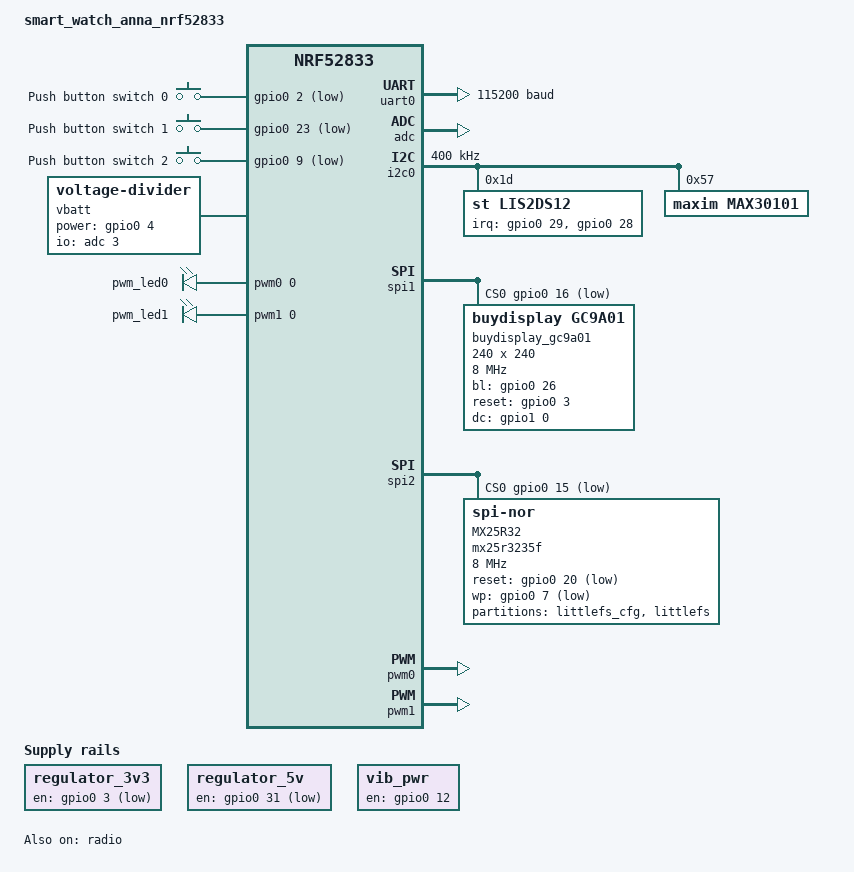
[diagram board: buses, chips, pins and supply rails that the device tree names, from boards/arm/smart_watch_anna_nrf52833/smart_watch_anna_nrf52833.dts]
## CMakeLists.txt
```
cmake_minimum_required(VERSION 3.20.0)

find_package(Zephyr REQUIRED HINTS $ENV{ZEPHYR_BASE})
project(lvgl)

add_subdirectory(drivers)
add_subdirectory(src/applications)

include_directories(src/)
include_directories(src/ui)
include_directories(src/applications)

FILE(GLOB app_sources src/*.c)
target_sources(app PRIVATE ${app_sources})

FILE(GLOB img_sources src/images/*.c)
target_sources(app PRIVATE ${img_sources})

FILE(GLOB ui_sources src/ui/*.c)
target_sources(app PRIVATE ${ui_sources})

add_compile_definitions(LV_LVGL_H_INCLUDE_SIMPLE)
```

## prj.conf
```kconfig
CONFIG_LV_Z_MEM_POOL_NUMBER_BLOCKS=8
CONFIG_MAIN_STACK_SIZE=1024
CONFIG_SYSTEM_WORKQUEUE_STACK_SIZE=2048
CONFIG_HEAP_MEM_POOL_SIZE=17000

CONFIG_ASSERT=y
CONFIG_RESET_ON_FATAL_ERROR=y
CONFIG_DISPLAY=y
CONFIG_DISPLAY_LOG_LEVEL_ERR=y

CONFIG_I2C=y
CONFIG_SENSOR=y
CONFIG_ADC=y
CONFIG_LIS2DS12=y
CONFIG_LIS2DS12_ENABLE_TEMP=y
CONFIG_LIS2DS12_TRIGGER_GLOBAL_THREAD=y

CONFIG_MAX30101=y
CONFIG_MAX30101_MULTI_LED_MODE=y
CONFIG_MAX30101_SLOT1=1
CONFIG_MAX30101_SLOT2=2
CONFIG_MAX30101_SLOT3=3
CONFIG_MAX30101_SLOT4=0

CONFIG_PINCTRL=y
CONFIG_PM_DEVICE=y
CONFIG_NFCT_PINS_AS_GPIOS=y

CONFIG_PWM=y

CONFIG_LVGL=y
CONFIG_LV_MEM_CUSTOM=y
CONFIG_LV_FONT_MONTSERRAT_14=y
#CONFIG_LV_PERF_MONITOR_ALIGN_RIGHT_MID=y

# LVGL Size optimizations
CONFIG_LV_LABEL_TEXT_SELECTION=n
CONFIG_LV_LABEL_LONG_TXT_HINT=n
CONFIG_LV_USE_LOG=n
CONFIG_LV_USE_BAR=n
CONFIG_LV_USE_CANVAS=n
CONFIG_LV_USE_CHECKBOX=n
CONFIG_LV_USE_DROPDOWN=n
CONFIG_LV_USE_LINE=y
CONFIG_LV_USE_ROLLER=n
CONFIG_LV_USE_SLIDER=y
CONFIG_LV_USE_SWITCH=y
CONFIG_LV_USE_TABLE=n
CONFIG_LV_USE_TEXTAREA=n
CONFIG_LV_USE_FLEX=y
CONFIG_LV_USE_ANIMIMG=y
CONFIG_LV_USE_CALENDAR=n
CONFIG_LV_USE_CHART=n
CONFIG_LV_USE_COLORWHEEL=n
CONFIG_LV_USE_IMGBTN=y
CONFIG_LV_USE_KEYBOARD=n
CONFIG_LV_USE_LED=n
CONFIG_LV_USE_LIST=y
CONFIG_LV_USE_MENU=y
CONFIG_LV_USE_METER=y
CONFIG_LV_USE_MSGBOX=y
CONFIG_LV_USE_SPINBOX=n
CONFIG_LV_USE_SPINNER=n
CONFIG_LV_USE_TABVIEW=n
CONFIG_LV_USE_TILEVIEW=n
CONFIG_LV_USE_WIN=n
CONFIG_LV_USE_SPAN=n
CONFIG_LV_USE_USER_DATA=y
CONFIG_LV_SPAN_SNIPPET_STACK_SIZE=64
CONFIG_LV_Z_VDB_SIZE=10
CONFIG_LV_Z_DOUBLE_VDB=n
CONFIG_SPI=y
CONFIG_GC9A01=y

CONFIG_LV_COLOR_16_SWAP=y
CONFIG_LV_COLOR_DEPTH_16=y

#
# Memory settings
#
# CONFIG_LV_MEM_CUSTOM is not set
CONFIG_LV_MEM_SIZE_KILOBYTES=25
CONFIG_LV_MEM_ADDR=0x0
CONFIG_LV_MEM_BUF_MAX_NUM=16
# end of Memory settings

# NVS
CONFIG_FLASH=y
CONFIG_FLASH_MAP=y
CONFIG_MPU_ALLOW_FLASH_WRITE=y
CONFIG_FLASH_PAGE_LAYOUT=y
CONFIG_SPI_NOR_SFDP_MINIMAL=n
CONFIG_SPI_NOR_SFDP_RUNTIME=y

# External flash
CONFIG_SPI_NOR=y
CONFIG_FILE_SYSTEM=y
CONFIG_FILE_SYSTEM_LITTLEFS=y

CONFIG_SETTINGS=n
CONFIG_NVS=y
#CONFIG_SETTINGS_FS=y
#CONFIG_SETTINGS_FS_DIR="/lfs/settings.bin"

# Bluetooth
CONFIG_BT=y

CONFIG_BT_CTLR=y
CONFIG_BT_LL_SW_SPLIT=y

CONFIG_BT_CTLR_ADV_EXT=y
CONFIG_BT_CTLR_ADV_PERIODIC=y

# Enable Direction Finding TX Feature including AoA and AoD
CONFIG_BT_DF=y
CONFIG_BT_CTLR_DF=y
CONFIG_BT_CTLR_DF_ANT_SWITCH_TX=n
CONFIG_BT_CTLR_DF_ANT_SWITCH_RX=n
CONFIG_BT_CTLR_DF_SCAN_CTE_RX=n
#CONFIG_BT_RX_STACK_SIZE=2048
# Enable chaining of multiple CTEs in periodic advertising
CONFIG_BT_CTLR_ADVANCED_FEATURES=y
CONFIG_BT_CTLR_ADV_SYNC_PDU_BACK2BACK=y
CONFIG_BT_CTLR_DF_PER_ADV_CTE_NUM_MAX=1
CONFIG_BT_DEBUG_LOG=n
#CONFIG_BT_SMP=y
CONFIG_BT_PERIPHERAL=y
CONFIG_BT_DIS=y
CONFIG_BT_DIS_PNP=n
CONFIG_BT_BAS=n
CONFIG_BT_HRS=n
CONFIG_BT_DEVICE_NAME="Smart Watch"
CONFIG_BT_DEVICE_APPEARANCE=194
CONFIG_BT_KEYS_OVERWRITE_OLDEST=y
CONFIG_BT_SETTINGS=n
CONFIG_BT_MAX_PAIRED=1
CONFIG_BT_MAX_CONN=1

CONFIG_BT_GATT_CLIENT=y
CONFIG_BT_GATT_DM=y

CONFIG_BT_EXT_ADV=y
CONFIG_BT_PER_ADV=y
CONFIG_BT_BROADCASTER=y
CONFIG_BT_SMP_ALLOW_UNAUTH_OVERWRITE=y
#CONFIG_BT_CONN_PARAM_UPDATE_TIMEOUT=
CONFIG_BT_EXT_ADV_MAX_ADV_SET=2
CONFIG_BT_CTLR_ADV_AUX_SET=2
CONFIG_BT_CTLR_ADV_DATA_LEN_MAX=128
CONFIG_BT_BUF_ACL_RX_SIZE=100
CONFIG_BT_BUF_ACL_TX_SIZE=100
CONFIG_BT_L2CAP_TX_MTU=96
CONFIG_BT_CTLR_DATA_LENGTH_MAX=100
CONFIG_BT_CTLR_LLCP_LOCAL_PROC_CTX_BUF_NUM=4

# Nordic UART Service
CONFIG_BT_NUS=y

# SEGGER RTT logging instead of UART
CONFIG_LOG_PRINTK=y
CONFIG_LOG=y
CONFIG_LOG_BACKEND_RTT_MODE_BLOCK=y
#CONFIG_DEBUG_OPTIMIZATIONS=y
CONFIG_USE_SEGGER_RTT=y
CONFIG_LOG_BACKEND_RTT=y
# End of SEGGER RTT

CONFIG_NEWLIB_LIBC=y
CONFIG_POSIX_API=y

CONFIG_CLOCK_CONTROL_NRF_K32SRC_RC=y

CONFIG_PM=y

# Size optimizations
CONFIG_SIZE_OPTIMIZATIONS=y
# CONFIG_THREAD_STACK_INFO=n
CONFIG_WATCHDOG=n
CONFIG_SERIAL=n
CONFIG_CONSOLE=n
CONFIG_PRINTK=y

# Needed for v2.2 otherwise compile errors
CONFIG_FLASH_JESD216_API=y

CONFIG_APP_EVENT_MANAGER=y
```

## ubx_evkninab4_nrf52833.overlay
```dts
/*
 * Copyright (c) 2021 Nordic Semiconductor ASA
 *
 * SPDX-License-Identifier: Apache-2.0
 */

/ {
	chosen {
		zephyr,display = &gc9a01;
	};
};

&spi0  {
	status = "okay";
	compatible = "nordic,nrf-spi";
	cs-gpios = <&arduino_header 10 GPIO_ACTIVE_LOW>;//,	/* D4 */
	//<&arduino_header 10 GPIO_ACTIVE_LOW>;	/* D04 */
	//sck-pin = < 12 >;
	//miso-pin = < 14 >;
	//mosi-pin = < 18 >;
	//cs-gpios = < &gpio0 15 GPIO_ACTIVE_LOW >;
	gc9a01: gc9a01@0 {
		compatible = "jkra,gc9a01";
		status = "okay";
		spi-max-frequency = <15151515>;
		//spi-max-frequency = <1000000>;
		reg = <0>;
		width = <320>;
		label = "jkra_gd0a401";
		height = <240>;
		//bl-gpios = <&arduino_header 7 GPIO_ACTIVE_LOW>;	/* D1 */
		bl-gpios = <&arduino_header 21 GPIO_ACTIVE_HIGH>;	/* NOT WORKING */
		reset-gpios = <&arduino_header 0 GPIO_ACTIVE_HIGH>;	/* A0 */
		dc-gpios = <&arduino_header 14 GPIO_ACTIVE_HIGH>;		/* D8 */
		//reset-gpios = <&gpio0 11 GPIO_ACTIVE_LOW>;
		//pixel-format = <ILI9XXX_PIXEL_FORMAT_RGB888>;
		//rotation = <90>;
		//frmctr1 = [00 18];
		//pwctrl1 = [23 00];
		//vmctrl1 = [3e 28];
		//vmctrl2 = [86];
		//pgamctrl = [0f 31 2b 0c 0e 08 4e f1 37 07 10 03 0e 09 00];
		//ngamctrl = [00 0e 14 03 11 07 31 c1 48 08 0f 0c 31 36 0f];
	};


};
```

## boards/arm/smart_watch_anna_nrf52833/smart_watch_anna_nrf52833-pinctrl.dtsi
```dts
/*
 * Copyright (c) 2022 Nordic Semiconductor
 * SPDX-License-Identifier: Apache-2.0
 */

&pinctrl {
	// TODO remove for actual watch, no UART
	uart0_default: uart0_default {
		group1 {
			psels = <NRF_PSEL(UART_TX, 1, 5)>,
				<NRF_PSEL(UART_RX, 0, 29)>,
				<NRF_PSEL(UART_RTS, 0, 31)>,
				<NRF_PSEL(UART_CTS, 0, 23)>;
		};
	};

	uart0_sleep: uart0_sleep {
		group1 {
			psels = <NRF_PSEL(UART_TX, 1, 5)>,
				<NRF_PSEL(UART_RX, 0, 29)>,
				<NRF_PSEL(UART_RTS, 0, 31)>,
				<NRF_PSEL(UART_CTS, 0, 23)>;
			low-power-enable;
		};
	};

	i2c0_default: i2c0_default {
		group1 {
			psels = <NRF_PSEL(TWIM_SDA, 0, 27)>,
				<NRF_PSEL(TWIM_SCL, 0, 6)>;
		};
	};

	i2c0_sleep: i2c0_sleep {
		group1 {
			psels = <NRF_PSEL(TWIM_SDA, 0, 27)>,
				<NRF_PSEL(TWIM_SCL, 0, 6)>;
			low-power-enable;
		};
	};

	spi1_default: spi1_default {
		group1 {
			psels = <NRF_PSEL(SPIM_SCK, 0, 1)>,
				<NRF_PSEL(SPIM_MOSI, 0, 0)>;
				//<NRF_PSEL(SPIM_MISO, 0, 0)>;
		};
	};

	spi1_sleep: spi1_sleep {
		group1 {
			psels = <NRF_PSEL(SPIM_SCK, 0, 1)>,
				<NRF_PSEL(SPIM_MOSI, 0, 0)>;
				//<NRF_PSEL(SPIM_MISO, 0, 0)>;
			low-power-enable;
		};
	};

	spi2_default: spi2_default {
		group1 {
			psels = <NRF_PSEL(SPIM_SCK, 0, 14)>,
				<NRF_PSEL(SPIM_MOSI, 1, 9)>,
				<NRF_PSEL(SPIM_MISO, 0, 22)>;
		};
	};

	spi2_sleep: spi2_sleep {
		group1 {
			psels = <NRF_PSEL(SPIM_SCK, 0, 14)>,
				<NRF_PSEL(SPIM_MOSI, 1, 9)>,
				<NRF_PSEL(SPIM_MISO, 0, 22)>;
			low-power-enable;
		};
	};

	// Display BLK
	pwm0_default: pwm0_default {
		group1 {
			psels = <NRF_PSEL(PWM_OUT0, 0, 26)>;
		};
	};

	pwm0_sleep: pwm0_sleep {
		group1 {
			psels = <NRF_PSEL(PWM_OUT0, 0, 26)>;
			low-power-enable;
		};
	};

	// Vibration motor
	pwm1_default: pwm1_default {
		group1 {
			psels = <NRF_PSEL(PWM_OUT0, 0, 11)>;
		};
	};

	pwm1_sleep: pwm1_sleep {
		group1 {
			psels = <NRF_PSEL(PWM_OUT0, 0, 11)>;
			low-power-enable;
		};
	};

};
```

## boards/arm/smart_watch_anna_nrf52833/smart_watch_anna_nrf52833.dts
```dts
// Copyright (c) 2022 Nordic Semiconductor ASA
// SPDX-License-Identifier: Apache-2.0

/dts-v1/;
#include <nordic/nrf52833_qiaa.dtsi>
#include "smart_watch_anna_nrf52833-pinctrl.dtsi"

/ {
	model = "smart_watch_anna_nrf52833";
	compatible = "jakob-krantz,smart-watch-anna-nrf52833";

	chosen {
		zephyr,console = &uart0;
		zephyr,sram = &sram0;
		zephyr,flash = &flash0;
		zephyr,display = &gc9a01;
		zephyr,code-partition = &slot0_partition;
	};

	// TODO change to watch buttons
	buttons {
		compatible = "gpio-keys";
		button0: button_0 {
			gpios = <&gpio0 2 (GPIO_PULL_UP | GPIO_ACTIVE_LOW)>;
			label = "Push button switch 0";
		};
		button1: button_1 {
			gpios = <&gpio0 23 (GPIO_PULL_UP | GPIO_ACTIVE_LOW)>;
			label = "Push button switch 1";
		};
		button2: button2 {
			gpios = <&gpio0 9 (GPIO_PULL_UP | GPIO_ACTIVE_LOW)>;
			label = "Push button switch 2";
		};
	};
	
	vbatt {
		compatible = "voltage-divider";
		io-channels = <&adc 3>;
		output-ohms = <220000>;
		full-ohms = <(1500000 + 220000)>;
		power-gpios = <&gpio0 4 0>;
	};

	regulator_3v3: regulator-3v3-ctrl {
		compatible = "regulator-fixed-sync", "regulator-fixed";
		label = "vsys-3v3-ctrl";
		regulator-name = "display";
		enable-gpios = <&gpio0 3 GPIO_ACTIVE_LOW>;
		regulator-boot-on;
	};

	regulator_5v: regulator-5v-ctrl {
		compatible = "regulator-fixed-sync", "regulator-fixed";
		label = "vsys-5v-ctrl";
		regulator-name = "max30101";
		enable-gpios = <&gpio0 31 GPIO_ACTIVE_LOW>;
		regulator-boot-on;
	};
	vib_pwr: vib-pwr-ctrl {
		compatible = "regulator-fixed";
		label = "vib-pwr-ctrl";
		regulator-name = "vib-pwr-ctrl";
		enable-gpios = <&gpio0 12 GPIO_ACTIVE_HIGH>;
	};

	pwmleds {
		compatible = "pwm-leds";
		pwm_led0: pwm_led_0 {
			pwms = <&pwm0 0 PWM_MSEC(20) 0>;
		};
		pwm_led1: pwm_led_1 {
			pwms = <&pwm1 0 PWM_MSEC(20) 0>;
		};
	};
	/*
	fstab {
		compatible = "zephyr,fstab";
		lfs: lfs {
		  compatible = "zephyr,fstab,littlefs";
		  mount-point = "/lfs";
		  partition = <&lfs1_part>;
		  read-size = <16>;
		  prog-size = <16>;
		  cache-size = <64>;
		  lookahead-size = <32>;
		  block-cycles = <512>;
		};
	  };
	*/
	aliases {
		sw0 = &button0;
		sw1 = &button1;
		sw2 = &button2;
		accelerometer = &lis2ds12;
		pwm-led0 = &pwm_led0;
		pwm-led1 = &pwm_led1;
	};
};

&uart0 {
	compatible = "nordic,nrf-uart";
	status = "okay";
	current-speed = <115200>;
	pinctrl-0 = <&uart0_default>;
	pinctrl-1 = <&uart0_sleep>;
	pinctrl-names = "default", "sleep";
};

&gpio0 {
	status = "okay";
};

&gpio1 {
	status = "okay";
};

&adc {
	status = "okay";
};

&i2c0 {
	compatible = "nordic,nrf-twim";
	status = "okay";
	clock-frequency = <I2C_BITRATE_FAST>;

	pinctrl-0 = <&i2c0_default>;
	pinctrl-1 = <&i2c0_sleep>;
	pinctrl-names = "default", "sleep";
	lis2ds12: lis2ds12@1D {
		compatible = "st,lis2ds12", "st,lis2ds";
		label = "lis2ds12";
		reg = <0x1D>;
		irq-gpios = <&gpio0 29 GPIO_ACTIVE_HIGH &gpio0 28 GPIO_ACTIVE_HIGH>;
	};
	max30101@57 {
		status = "okay";
		compatible = "maxim,max30101";
		reg = <0x57>;
		label = "MAX30101";
	};
};

&spi1  {
	status = "okay";
	compatible = "nordic,nrf-spi";
	pinctrl-0 = <&spi1_default>;
	pinctrl-1 = <&spi1_sleep>;
	pinctrl-names = "default", "sleep";
	cs-gpios = <&gpio0 16 GPIO_ACTIVE_LOW>;

	gc9a01: gc9a01@0 {
		compatible = "buydisplay,gc9a01";
		status = "okay";
		spi-max-frequency = <8000000>;
		reg = <0>;
		width = <240>;
		label = "buydisplay_gc9a01";
		height = <240>;
		bl-gpios = <&gpio0 26 GPIO_ACTIVE_HIGH>;
		reset-gpios = <&gpio0 3 GPIO_ACTIVE_HIGH>;
		dc-gpios = <&gpio1 0 GPIO_ACTIVE_HIGH>;
	};

};

&spi2 {
	status = "okay";
	pinctrl-0 = <&spi2_default>;
	pinctrl-1 = <&spi2_sleep>;
	pinctrl-names = "default", "sleep";
	cs-gpios = <&gpio0 15 GPIO_ACTIVE_LOW>;
	mx25r32: mx25r3235f@0 {
		compatible = "jedec,spi-nor";
		reg = <0>;
		spi-max-frequency = <8000000>;
		label = "MX25R32";
		size = <33554432>;
		jedec-id = [c2 28 16];
		/*
		sfdp-bfp = [
			e5 20 f1 ff  ff ff ff 03  44 eb 08 6b  08 3b 04 bb
			ee ff ff ff  ff ff 00 ff  ff ff 00 ff  0c 20 0f 52
			10 d8 00 ff  23 72 f5 00  82 ed 04 cc  44 83 68 44
			30 b0 30 b0  f7 c4 d5 5c  00 be 29 ff  f0 d0 ff ff
		];
		has-dpd;
		t-enter-dpd = <10000>;
		t-exit-dpd = <35000>;*/
		reset-gpios = <&gpio0 20 (GPIO_ACTIVE_LOW | GPIO_PULL_UP)>;
		wp-gpios = <&gpio0 7 GPIO_ACTIVE_LOW>;
	};
};

&pwm0 {
	status = "okay";
	pinctrl-0 = <&pwm0_default>;
	pinctrl-1 = <&pwm0_sleep>;
	pinctrl-names = "default", "sleep";
};

&pwm1 {
	status = "okay";
	pinctrl-0 = <&pwm1_default>;
	pinctrl-1 = <&pwm1_sleep>;
	pinctrl-names = "default", "sleep";
};

&flash0 {
	partitions {
		compatible = "fixed-partitions";
		#address-cells = <1>;
		#size-cells = <1>;

		boot_partition: partition@0 {
			label = "mcuboot";
			reg = <0x0 0xc000>;
		};
		slot0_partition: partition@c000 {
			label = "image-0";
			reg = <0xc000 0x32000>;
		};
		slot1_partition: partition@3e000 {
			label = "image-1";
			reg = <0x3e000 0x32000>;
		};
		scratch_partition: partition@70000 {
			label = "image-scratch";
			reg = <0x70000 0xe000>;
		};
		storage_partition: partition@7e000 {
			label = "storage";
			reg = <0x7e000 0x2000>;
		};
	};
};

&mx25r32 {
	partitions {
		compatible = "fixed-partitions";
		#address-cells = <1>;
		#size-cells = <1>;

		partition_cfg: partition@0 {
			label = "littlefs_cfg";
			reg = <0x00000000 0x000010000>;
		};
		partition_lfs: partition@10000 {
			label = "littlefs";
			reg = <0x000010000 0x00080000>;
		};
	};
};

// Zephyr gets mad if this is not set, even thought we don't do any switching
&radio {
	status = "okay";
	dfe-antenna-num = <10>;
	dfe-pdu-antenna = <0x1>;
	dfegpio0-gpios = <&gpio1 1 0>;
	dfegpio1-gpios = <&gpio1 1 0>;
	dfegpio2-gpios = <&gpio1 1 0>;
	dfegpio3-gpios = <&gpio1 1 0>;
};
```

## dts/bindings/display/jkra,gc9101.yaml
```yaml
description: GC9A01 EPD display controller

compatible: "jkra,gc9a01"

include: [spi-device.yaml, display-controller.yaml]


properties:
    reset-gpios:
      type: phandle-array
      required: true
      description: RESET pin.

        The RESET pin of GC9A01 is active low.
        If connected directly the MCU pin should be configured
        as active low.

    bl-gpios:
      type: phandle-array
      required: true
      description: BL pin.

        BL PIN TODO description

    dc-gpios:
      type: phandle-array
      required: true
      description: DC pin.

        The DC pin of GC9A01 is active low (transmission command byte).
        If connected directly the MCU pin should be configured
        as active low.


    pwr:
      type: uint8-array
      required: false
      description: Power Setting (PWR) values

    softstart:
      type: uint8-array
      required: false
      description: Booster Soft Start (BTST) values

    cdi:
      type: int
      required: false
      description: VCOM and data interval value

    tcon:
      type: int
      required: false
      description: TCON setting value
on-bus: spi
```

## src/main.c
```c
#include <zephyr/device.h>
#include <zephyr/drivers/display.h>
#include <zephyr/sys/reboot.h>
#include <stdio.h>
#include <string.h>
#include <zephyr/kernel.h>
#include <buttons.h>
#include <battery.h>
#include <gpio_debug.h>
#include <zephyr/drivers/sensor.h>
#include <zephyr/drivers/pwm.h>
#include <zephyr/bluetooth/bluetooth.h>
#include <zephyr/settings/settings.h>
#include <zephyr/drivers/led.h>
#include <zephyr/logging/log.h>
#include <filesystem.h>
#include <clock.h>
#include <lvgl.h>
#include "watchface.h"
#include <general_ui.h>
#include <heart_rate_sensor.h>
#include <sys/time.h>
#include <ram_retention_storage.h>
#include <accelerometer.h>
#include <ble_comm.h>
#include <ble_aoa.h>
#include <lv_notifcation.h>
#include <notification_manager.h>
#include <notifications_page.h>
#include <vibration_motor.h>
#include <display_control.h>
#include <applications/application_manager.h>

LOG_MODULE_REGISTER(main, LOG_LEVEL_WRN);

//#define DEBUG_NOTIFICATIONS

#define WORK_STACK_SIZE 3000
#define WORK_PRIORITY   5

#define RENDER_INTERVAL_LVGL    K_MSEC(100)
#define ACCEL_INTERVAL          K_MSEC(100)
#define BATTERY_INTERVAL        K_SECONDS(10)
#define SEND_STATUS_INTERVAL    K_SECONDS(30)
#define DATE_UPDATE_INTERVAL    K_MINUTES(1)

typedef enum work_type {
    INIT,
    UPDATE_CLOCK,
    OPEN_WATCHFACE,
    OPEN_NOTIFICATIONS,
    BATTERY,
    RENDER,
    OPEN_NOTIFICATION,
    CLOSE_NOTIFICATION,
    DEBUG_NOTIFICATION,
    SEND_STATUS_UPDATE,
    UPDATE_DATE
} work_type_t;

typedef enum ui_state {
    INIT_STATE,
    SETTINGS_STATE,
    WATCHFACE_STATE,
    APPLICATION_MANAGER_STATE,
    NOTIFCATION_STATE,
    NOTIFCATION_LIST_STATE,
} ui_state_t;

typedef struct delayed_work_item {
    struct k_work_delayable work;
    work_type_t             type;
} delayed_work_item_t;

static void enable_bluetoth(void);
static void open_notifications_page(void);
static bool load_retention_ram(void);
static void enocoder_read(struct _lv_indev_drv_t *indev_drv, lv_indev_data_t *data);
static void encoder_vibration(struct _lv_indev_drv_t *drv, uint8_t e);
static void accel_evt(accelerometer_evt_t *evt);
static void play_not_vibration(void);
static void check_notifications(void);
static int read_battery(int *batt_mV, int *percent);

static void onButtonPressCb(buttonPressType_t type, buttonId_t id);
static void on_notifcation_closed(lv_event_t *e, uint32_t id);
static void on_notification_page_close(void);
static void on_notification_page_notification_close(uint32_t not_id);
static void on_close_application_manager(void);

static void connected(struct bt_conn *conn, uint8_t err);
static void disconnected(struct bt_conn *conn, uint8_t reason);

BT_CONN_CB_DEFINE(conn_callbacks) = {
    .connected    = connected,
    .disconnected = disconnected,
};

static delayed_work_item_t battery_work =   { .type = BATTERY };
static delayed_work_item_t render_work =    { .type = RENDER };
static delayed_work_item_t clock_work =     { .type = UPDATE_CLOCK };
static delayed_work_item_t status_work =    { .type = SEND_STATUS_UPDATE };
static delayed_work_item_t date_work =      { .type = UPDATE_DATE };

static delayed_work_item_t general_work_item;

K_THREAD_STACK_DEFINE(my_stack_area, WORK_STACK_SIZE);

static bool buttons_allocated = false;
static lv_group_t *input_group;
static lv_indev_drv_t enc_drv;
static lv_indev_t *enc_indev;
static buttonId_t last_pressed;

static bool display_on = true;
static bool vibrator_on = false;

struct k_work_q my_work_q;
static ui_state_t watch_state = INIT_STATE;

void general_work(struct k_work *item)
{
    int res;
    delayed_work_item_t *the_work = CONTAINER_OF(item, delayed_work_item_t, work);

    switch (the_work->type) {
        case INIT: {
            load_retention_ram();
            filesystem_init();
            heart_rate_sensor_init();
            watchface_init();
            notifications_page_init(on_notification_page_close, on_notification_page_notification_close);
            notification_manager_init();
            enable_bluetoth();

            res = accelerometer_init(accel_evt);
            __ASSERT(res == 0, "Failed init accelerometer");

            clock_init(retained.current_time_seconds);
            buttonsInit(&onButtonPressCb);

            vibration_motor_init();
            vibration_motor_set_on(false);
            display_control_set_brightness(100);

            lv_indev_drv_init(&enc_drv);

            enc_drv.type = LV_INDEV_TYPE_ENCODER;
            enc_drv.read_cb = enocoder_read;
            enc_drv.feedback_cb = encoder_vibration;
            enc_indev = lv_indev_drv_register(&enc_drv);

            input_group = lv_group_create();
            lv_group_set_default(input_group);
            lv_indev_set_group(enc_indev, input_group);

            watchface_show();
            //application_manager_show(on_close_application_manager, lv_scr_act(), input_group);
            __ASSERT(0 <= k_work_reschedule_for_queue(&my_work_q, &battery_work.work, K_NO_WAIT), "FAIL battery_work");
            __ASSERT(0 <= k_work_reschedule_for_queue(&my_work_q, &render_work.work, K_NO_WAIT), "FAIL render_work");
            __ASSERT(0 <= k_work_reschedule_for_queue(&my_work_q, &clock_work.work, K_NO_WAIT), "FAIL clock_work");
            __ASSERT(0 <= k_work_reschedule_for_queue(&my_work_q, &date_work.work, K_SECONDS(1)), "FAIL clock_work");
            watch_state = WATCHFACE_STATE;
#ifdef DEBUG_NOTIFICATIONS
            general_work_item.type = DEBUG_NOTIFICATION;
            __ASSERT(0 <= k_work_reschedule_for_queue(&my_work_q, &general_work_item.work, K_SECONDS(5)), "FAIL schedule");
#endif
            break;
        }
        case UPDATE_CLOCK: {
            struct tm *time = clock_get_time();
            LOG_INF("%d, %d, %d\n", time->tm_hour, time->tm_min, time->tm_sec);
            watchface_set_time(time->tm_hour, time->tm_min);

            // Store current time
            retained.current_time_seconds = clock_get_time_unix();
            retained_update();
            check_notifications();
            __ASSERT(0 <= k_work_reschedule_for_queue(&my_work_q, &clock_work.work, K_SECONDS(1)), "FAIL clock_work");
            break;
        }
        case UPDATE_DATE: {
            struct tm *time = clock_get_time();
            watchface_set_date(time->tm_wday, time->tm_mday);
            __ASSERT(0 <= k_work_reschedule_for_queue(&my_work_q, &date_work.work, DATE_UPDATE_INTERVAL), "FAIL date_work");
        }
        case OPEN_WATCHFACE: {
            watchface_show();
            buttons_allocated = false;
            watch_state = WATCHFACE_STATE;
            break;
        }
        case OPEN_NOTIFICATIONS: {
            watch_state = NOTIFCATION_LIST_STATE;
            watchface_remove();
            open_notifications_page();
            break;
        }
        case OPEN_NOTIFICATION: {
            not_mngr_notification_t* not = notification_manager_get_newest();
            if (not != NULL) {
                lv_notification_show(not->title, not->body, not->src, not->id, on_notifcation_closed);
                play_not_vibration();
                general_work_item.type = CLOSE_NOTIFICATION;
                __ASSERT(0 <= k_work_reschedule_for_queue(&my_work_q, &general_work_item.work, K_SECONDS(15)), "FAIL schedule");
            } else {
                buttons_allocated = false;
            }
            break;
        }
        case BATTERY: {
            int batt_mv;
            int batt_percent;
            static uint32_t count;

            if (read_battery(&batt_mv, &batt_percent) == 0) {
                watchface_set_battery_percent(batt_percent, batt_mv);
            }
            watchface_set_hrm(count % 220);
            //heart_rate_sensor_fetch(&hr_sample);
            count++;
            __ASSERT(0 <= k_work_reschedule_for_queue(&my_work_q, &battery_work.work, BATTERY_INTERVAL),
                     "FAIL battery_work");
            break;
        }
        case RENDER: {
            lv_task_handler();
            __ASSERT(0 <= k_work_reschedule_for_queue(&my_work_q, &render_work.work, RENDER_INTERVAL_LVGL),
                     "FAIL render_work");
            break;
        }
        case SEND_STATUS_UPDATE: {
            int batt_mv;
            int batt_percent;
            int msg_len;
            char buf[100];
            memset(buf, 0, sizeof(buf));

            if (read_battery(&batt_mv, &batt_percent) == 0) {
                msg_len = snprintf(buf, sizeof(buf), "{\"t\":\"status\", \"bat\": %d, \"volt\": %d, \"chg\": %d} \n", batt_percent,
                                   batt_mv, 0);
                ble_comm_send(buf, msg_len);
            }
            __ASSERT(0 <= k_work_reschedule_for_queue(&my_work_q, &status_work.work, SEND_STATUS_INTERVAL),
                     "Failed schedule status work");
            break;
        }
        case CLOSE_NOTIFICATION: {
            lv_notification_remove();
            buttons_allocated = false;
            break;
        }
        case DEBUG_NOTIFICATION: {
#ifdef DEBUG_NOTIFICATION
            char *body = "This is a body with a longer message that maybe should wrap around or be cut?";
            char *src = "Gmail";
            char *title = "Test Name";
            ble_comm_notify_t raw_not = {
                .body = body,
                .body_len = strlen(body),
                .title = title,
                .title_len = strlen(title),
                .src = src,
                .src_len = strlen(src)
            };
            // Just for debugging faster
            raw_not.id = 0;
            raw_not.title = "Not 0";
            raw_not.title_len = strlen(raw_not.title);
            notification_manager_add(&raw_not);
            raw_not.id = 1;
            raw_not.title = "Not 1";
            raw_not.title_len = strlen(raw_not.title);
            notification_manager_add(&raw_not);
            raw_not.id = 2;
            raw_not.title = "Not 2";
            raw_not.title_len = strlen(raw_not.title);
            notification_manager_add(&raw_not);
            raw_not.id = 3;
            raw_not.title = "Not 3";
            raw_not.title_len = strlen(raw_not.title);
            notification_manager_add(&raw_not);
            raw_not.id = 4;
            raw_not.title = "Not 4";
            raw_not.title_len = strlen(raw_not.title);
            notification_manager_add(&raw_not);
            raw_not.id = 5;
            raw_not.title = "Not 5";
            raw_not.title_len = strlen(raw_not.title);
            buttons_allocated = true;
            play_not_vibration();
            general_work_item.type = OPEN_NOTIFICATIONS;
            __ASSERT(0 <= k_work_reschedule_for_queue(&my_work_q, &general_work_item.work, K_SECONDS(3)), "FAIL schedule");
#endif
            break;
        }
    }
}

void main(void)
{
    k_work_queue_init(&my_work_q);

    k_work_queue_start(&my_work_q, my_stack_area,
                       K_THREAD_STACK_SIZEOF(my_stack_area), WORK_PRIORITY,
                       NULL);

    k_work_init_delayable(&general_work_item.work, general_work);
    k_work_init_delayable(&battery_work.work, general_work);
    k_work_init_delayable(&render_work.work, general_work); // TODO malloc and free as we can have multiple
    k_work_init_delayable(&clock_work.work, general_work);
    k_work_init_delayable(&status_work.work, general_work);
    k_work_init_delayable(&date_work.work, general_work);

    general_work_item.type = INIT;
    __ASSERT(0 <= k_work_reschedule_for_queue(&my_work_q, &general_work_item.work, K_NO_WAIT), "FAIL schedule");
}

static void on_notifcation_closed(lv_event_t *e, uint32_t id)
{
    // Notification was dismissed, hence consider it read.
    notification_manager_remove(id);

    general_work_item.type = OPEN_WATCHFACE;
    __ASSERT(0 <= k_work_reschedule_for_queue(&my_work_q, &general_work_item.work, K_MSEC(500)), "FAIL schedule");
}

static void on_notification_page_close(void)
{
    general_work_item.type = OPEN_WATCHFACE;
    __ASSERT(0 <= k_work_reschedule_for_queue(&my_work_q, &general_work_item.work, K_MSEC(500)), "FAIL schedule");
}

static void on_notification_page_notification_close(uint32_t not_id)
{
    notification_manager_remove(not_id);
}

static void ble_data_cb(ble_comm_cb_data_t *cb)
{
    not_mngr_notification_t *parsed_not;

    switch (cb->type) {
        case BLE_COMM_DATA_TYPE_NOTIFY:
            parsed_not = notification_manager_add(&cb->data.notify);
            if (!parsed_not) {
                return;
            }
            if (buttons_allocated) {
                return;
            }

            buttons_allocated = true;
            general_work_item.type = OPEN_NOTIFICATION;
            __ASSERT(0 <= k_work_reschedule_for_queue(&my_work_q, &general_work_item.work, K_NO_WAIT), "FAIL schedule not");
            break;
        case BLE_COMM_DATA_TYPE_NOTIFY_REMOVE:
            if (notification_manager_remove(cb->data.notify_remove.id) != 0) {
                LOG_WRN("Notification %d not found", cb->data.notify_remove.id);
            }
            break;
        case BLE_COMM_DATA_TYPE_SET_TIME: {
            struct timespec tspec;
            tspec.tv_sec = cb->data.time.seconds;
            tspec.tv_nsec = 0;
            clock_settime(CLOCK_REALTIME, &tspec);
            break;
        }
        case BLE_COMM_DATA_TYPE_WEATHER:
            LOG_DBG("Weather: %s t: %d hum: %d code: %d wind: %d dir: %d", cb->data.weather.report_text,
                    cb->data.weather.temperature_c, cb->data.weather.humidity, cb->data.weather.weather_code, cb->data.weather.wind,
                    cb->data.weather.wind_direction);
            watchface_set_weather(cb->data.weather.temperature_c, cb->data.weather.weather_code);
            break;
        default:
            break;
    }
}

static void enable_bluetoth(void)
{
    int err;

    err = bt_enable(NULL);
    if (err != 0) {
        LOG_ERR("Failed to enable Bluetooth, err: %d", err);
        return;
    }
#ifdef CONFIG_SETTINGS
    settings_load();
#endif

    __ASSERT_NO_MSG(bleAoaInit());
    __ASSERT_NO_MSG(ble_comm_init(ble_data_cb) == 0);
}

/** A discharge curve specific to the power source. */
static const struct battery_level_point levels[] = {
    /*
    Battery supervisor cuts power at 3500mA so treat that as 0%
    TODO analyze more to get a better curve.
    */
    { 10000, 4150 },
    { 0, 3500 },
};

static int read_battery(int *batt_mV, int *percent)
{
    int rc = battery_measure_enable(true);
    if (rc != 0) {
        LOG_ERR("Failed initialize battery measurement: %d\n", rc);
        return -1;
    }
    // From https://github.com/zephyrproject-rtos/zephyr/blob/main/samples/boards/nrf/battery/src/main.c
    *batt_mV = battery_sample();

    if (*batt_mV < 0) {
        LOG_ERR("Failed to read battery voltage: %d\n", *batt_mV);
        return -1;
    }

    unsigned int batt_pptt = battery_level_pptt(*batt_mV, levels);

    LOG_DBG("%d mV; %u pptt\n", *batt_mV, batt_pptt);
    *percent = batt_pptt / 100;

    rc = battery_measure_enable(false);
    if (rc != 0) {
        LOG_ERR("Failed disable battery measurement: %d\n", rc);
        return -1;
    }
    return 0;
}

static bool load_retention_ram(void)
{
    bool retained_ok = retained_validate();
    //memset(&retained, 0, sizeof(retained));
    /* Increment for this boot attempt and update. */
    retained.boots += 1;
    retained_update();

    printk("Retained data: %s\n", retained_ok ? "valid" : "INVALID");
    printk("Boot count: %u\n", retained.boots);
    printk("uptime_latest: %" PRIu64 "\n", retained.uptime_latest);
    printk("Active Ticks: %" PRIu64 "\n", retained.uptime_sum);

    return retained_ok;
}

static void open_notifications_page(void)
{
    not_mngr_notification_t notifications[NOTIFICATION_MANAGER_MAX_STORED];
    int num_unread = 0;
    buttons_allocated = true;
    notification_manager_get_all(notifications, &num_unread);
    notifications_page_create(notifications, num_unread, input_group);
}

static void play_press_vibration(void)
{
    vibrator_on = true;
    vibration_motor_set_on(true);
    vibration_motor_set_power(80);
    k_msleep(150);
    vibration_motor_set_power(80);
    vibration_motor_set_on(false);
    vibrator_on = false;
}

static void play_not_vibration(void)
{
    vibrator_on = true;
    vibration_motor_set_power(100);
    vibration_motor_set_on(true);
    k_msleep(50);
    vibration_motor_set_on(false);
    k_msleep(50);
    vibration_motor_set_on(true);
    k_msleep(50);
    vibration_motor_set_on(false);
    k_msleep(50);
    vibration_motor_set_power(0);
    vibration_motor_set_on(true);
    k_msleep(50);
    vibration_motor_set_on(false);
    vibrator_on = false;
}

static void check_notifications(void)
{
    uint32_t num_unread = notification_manager_get_num();
    watchface_set_num_notifcations(num_unread);
}

static void on_close_application_manager(void)
{
    application_manager_delete();
    watch_state = WATCHFACE_STATE;
    watchface_show();
    buttons_allocated = false;
}

static void onButtonPressCb(buttonPressType_t type, buttonId_t id)
{
    LOG_DBG("Pressed %d, type: %d", id, type);

    // Always allow force restart
    if (type == BUTTONS_LONG_PRESS && id == BUTTON_3) {
        retained.off_count += 1;
        retained_update();
        sys_reboot(SYS_REBOOT_COLD);
    }

    if (type == BUTTONS_LONG_PRESS && id == BUTTON_2 && watch_state == APPLICATION_MANAGER_STATE) {
        // TODO doesn't work, as this press is read later with lvgl and causes extra press in settings.
        // To fix each application must have exit button, maybe we can register long press on the whole view to exit
        // apps without input device
        //application_manager_exit_app();
        //return;
    }

    if (buttons_allocated) {
        // Handled by LVGL
        return;
    }

    if (type == BUTTONS_SHORT_PRESS) {
        if (watch_state == WATCHFACE_STATE) {
            if (id == BUTTON_2) {
                watch_state = NOTIFCATION_LIST_STATE;
            } else {
                watch_state = APPLICATION_MANAGER_STATE;
            }
        } else if (watch_state == APPLICATION_MANAGER_STATE) {
            watch_state = WATCHFACE_STATE;
        }
        play_press_vibration();
        switch (watch_state) {
            case WATCHFACE_STATE:
                application_manager_delete();
                watchface_show();
                break;
            case APPLICATION_MANAGER_STATE:
                watchface_remove();
                buttons_allocated = true;
                application_manager_show(on_close_application_manager, lv_scr_act(), input_group);
                break;
            case NOTIFCATION_LIST_STATE:
                general_work_item.type = OPEN_NOTIFICATIONS;
                __ASSERT(0 <= k_work_reschedule_for_queue(&my_work_q, &general_work_item.work, K_NO_WAIT), "FAIL schedule");
                break;
            default:
                break;
        }
    } else {
        if (id == BUTTON_2) {
            // Not used right now
        } else if (id == BUTTON_3) {
            retained.off_count += 1;
            retained_update();
            sys_reboot(SYS_REBOOT_COLD);
        }
    }
}

static void enocoder_read(struct _lv_indev_drv_t *indev_drv, lv_indev_data_t *data)
{
    if (!buttons_allocated) {
        return;
    }
    if (button_read(BUTTON_1)) {
        data->key = LV_KEY_RIGHT;
        data->state = LV_INDEV_STATE_PR;
        last_pressed = BUTTON_1;
    } else if (button_read(BUTTON_2)) {
        data->key = LV_KEY_ENTER;
        data->state = LV_INDEV_STATE_PR;
        last_pressed = BUTTON_2;
    } else if (button_read(BUTTON_3)) {
        data->key = LV_KEY_LEFT;
        data->state = LV_INDEV_STATE_PR;
        last_pressed = BUTTON_3;
    } else {
        if (last_pressed == 0xFF) {
            return;
        }
        data->state = LV_INDEV_STATE_REL;
        switch (last_pressed) {
            case BUTTON_1:
                data->key = LV_KEY_RIGHT;
                break;
            case BUTTON_2:
                data->key = LV_KEY_ENTER;
                break;
            case BUTTON_3:
                data->key = LV_KEY_LEFT;
                break;
        }
        last_pressed = 0xFF;
    }
}

void encoder_vibration(struct _lv_indev_drv_t *drv, uint8_t e)
{
    if (e == LV_EVENT_PRESSED) {
        play_press_vibration();
    }
}

static void connected(struct bt_conn *conn, uint8_t err)
{
    if (err) {
        LOG_ERR("Connection failed (err %u)", err);
        return;
    }
    __ASSERT(0 <= k_work_reschedule_for_queue(&my_work_q, &status_work.work, K_MSEC(1000)), "FAIL status");

    watchface_set_ble_connected(true);
}

static void disconnected(struct bt_conn *conn, uint8_t reason)
{
    watchface_set_ble_connected(false);
}

static void accel_evt(accelerometer_evt_t *evt)
{
    switch (evt->type) {
        case ACCELEROMETER_EVT_TYPE_DOOUBLE_TAP: {
            if (vibrator_on || (watch_state != WATCHFACE_STATE)) {
                // Vibrator causes false double tap detections.
                // Need more work to not detect when vibration is running, hence for now only allow on watchface page
                break;
            }
            display_on = !display_on;
            if (display_on) {
                display_control_set_brightness(100);
            } else {
                display_control_set_brightness(1);
            }
            break;
        }
        case ACCELEROMETER_EVT_TYPE_STEP: {
            watchface_set_step(evt->data.step.count);
            break;
        }
        case ACCELEROMETER_EVT_TYPE_XYZ: {
            LOG_ERR("x: %d y: %d z: %d", evt->data.xyz.x, evt->data.xyz.y, evt->data.xyz.z);
            break;
        }
        case ACCELEROMETER_EVT_TYPE_TILT: {
            // Tilt detect not working as we want yet, so don't do for now.
            //display_control_set_brightness(100);
            break;
        }
    }
}
```

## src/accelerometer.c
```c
#include <accelerometer.h>
#include <zephyr/logging/log.h>
#include "lis2ds12_reg.h"

LOG_MODULE_REGISTER(accel, LOG_LEVEL_DBG);

static void data_ready_xyz(const struct device *dev,
                           const struct sensor_trigger *trig);
static int configure_double_tap_detection(void);
static int configure_pedometer(void);
static int configure_tilt_detection(void);
static int configure_int2_to_int1(void);

static const struct device *sensor;
static accel_event_cb accel_evt_cb;

int accelerometer_init(accel_event_cb cb)
{
    struct sensor_value odr;
    struct sensor_trigger trig;
    sensor = device_get_binding(DT_LABEL(DT_INST(0, st_lis2ds12)));
    if (!device_is_ready(sensor)) {
        LOG_ERR("Error: Device \"%s\" is not ready; "
                "check the driver initialization logs for errors.",
                sensor->name);
        return -ENODEV;
    }

    // 400Hz needed for double tap detection
    odr.val1 = 400;
    odr.val2 = 0;
    int err = sensor_attr_set(sensor, SENSOR_CHAN_ACCEL_XYZ, SENSOR_ATTR_SAMPLING_FREQUENCY, &odr);
    if (!err) {
        trig.type = SENSOR_TRIG_DATA_READY;
        trig.chan = SENSOR_CHAN_ALL;
        err = sensor_trigger_set(sensor, &trig, data_ready_xyz);
        if (err == 0) {
            accel_evt_cb = cb;
            err = configure_double_tap_detection();
            if (err < 0) {
                LOG_ERR("configure_double_tap_detection failed: %d", err);
            }
            err = configure_pedometer();
            if (err < 0) {
                LOG_ERR("configure_pedometer failed: %d", err);
            }
            err = configure_tilt_detection();
            if (err < 0) {
                LOG_ERR("configure_tilt_detection failed: %d", err);
            }
        }
    } else {
        LOG_ERR("sensor_attr_set fail: %d", err);
    }

    if (err == 0) {
        err = configure_int2_to_int1(); // For now route INT2 to INT1 GPIO as it's already set up in LIS2DS12 trigger code.
        if (err < 0) {
            LOG_ERR("configure_int2_to_int1 failed: %d", err);
        }
    }

    return err;
}

int accelerometer_fetch_xyz(int16_t *x, int16_t *y, int16_t *z)
{
    __ASSERT(device_is_ready(sensor), "Accelerometer not initialized correctly");
    int err = sensor_sample_fetch(sensor);
    if (err) {
        LOG_ERR("Could not fetch sample from %s", sensor->name);
    }
    struct sensor_value acc_val[3];
    if (!err) {
        err = sensor_channel_get(sensor, SENSOR_CHAN_ACCEL_XYZ, acc_val);
        if (err < 0) {
            LOG_ERR("\nERROR: Unable to read accel XYZ:%d\n", err);
        } else {
            *x = (int16_t)(sensor_value_to_double(&acc_val[0]) * (32768 / 16));
            *y = (int16_t)(sensor_value_to_double(&acc_val[1]) * (32768 / 16));
            *z = (int16_t)(sensor_value_to_double(&acc_val[2]) * (32768 / 16));
        }
    }

    return err;
}

int accelerometer_fetch_num_steps(int16_t *num_steps)
{
    __ASSERT(device_is_ready(sensor), "Accelerometer not initialized correctly");
    stmdev_ctx_t *ctx = (stmdev_ctx_t *)sensor->config;
    int err = lis2ds12_number_of_steps_get(ctx, num_steps);
    if (err < 0) {
        LOG_ERR("lis2ds12_number_of_steps_get: %d", err);
        return err;
    }
    LOG_ERR("STEP COUNT: %d", *num_steps);
    return err;
}

int accelerometer_fetch_temperature(struct sensor_value *temperature)
{
    __ASSERT(device_is_ready(sensor), "Accelerometer not initialized correctly");
    stmdev_ctx_t *ctx = (stmdev_ctx_t *)sensor->config;
    int err = lis2ds12_temperature_raw_get(ctx, (uint8_t *)temperature);

    if (err < 0) {
        LOG_ERR("\nERROR: Unable to read temperature:%d\n", err);
    } else {
        LOG_DBG("Temp (TODO convert from 2 complement) %d\n", temperature->val1);
    }

    return err;
}

int accelerometer_reset_step_count(void)
{
    __ASSERT(device_is_ready(sensor), "Accelerometer not initialized correctly");
    stmdev_ctx_t *ctx = (stmdev_ctx_t *)sensor->config;

    int err = lis2ds12_pedo_step_reset_set(ctx, 1);
    if (err < 0) {
        LOG_ERR("lis2ds12_pedo_step_reset_set failed: %d", err);
    }
    return err;
}

static void data_ready_xyz(const struct device *dev, const struct sensor_trigger *trig)
{
    int err;
    int16_t x;
    int16_t y;
    int16_t z;
    int16_t steps;
    accelerometer_evt_t evt;
    lis2ds12_all_sources_t isr_srcs;
    struct sensor_value acc_val[3];
    stmdev_ctx_t *ctx = (stmdev_ctx_t *)sensor->config;

    __ASSERT(device_is_ready(sensor), "Accelerometer not initialized correctly");

    err = lis2ds12_all_sources_get(ctx, &isr_srcs);
    if (isr_srcs.tap_src.double_tap) {
        LOG_DBG("Double TAP ISR");
        if (accel_evt_cb) {
            evt.type = ACCELEROMETER_EVT_TYPE_DOOUBLE_TAP;
            accel_evt_cb(&evt);
        }
    } else if (isr_srcs.tap_src.single_tap) {
        LOG_DBG("Single TAP ISR");
    } else if (isr_srcs.func_ck_gate.step_detect) {
        accelerometer_fetch_num_steps(&steps);
        LOG_DBG("Step Detect: %d", steps);
        if (accel_evt_cb) {
            evt.type = ACCELEROMETER_EVT_TYPE_STEP;
            evt.data.step.count = steps;
            accel_evt_cb(&evt);
        }
    } else if (isr_srcs.func_ck_gate.tilt_int) {
        LOG_DBG("Tilt Detected");
        if (accel_evt_cb) {
            evt.type = ACCELEROMETER_EVT_TYPE_TILT;
            accel_evt_cb(&evt);
        }
    } else if (isr_srcs.status_dup.drdy) {
        LOG_DBG("DRDY ISR");
        err = sensor_sample_fetch_chan(dev, SENSOR_CHAN_ACCEL_XYZ);
        if (!err) {
            err = sensor_channel_get(sensor, SENSOR_CHAN_ACCEL_XYZ, acc_val);
            if (err < 0) {
                LOG_DBG("\nERROR: Unable to read accel XYZ:%d\n", err);
            } else {
                x = (int16_t)(sensor_value_to_double(&acc_val[0]) * (32768 / 16));
                y = (int16_t)(sensor_value_to_double(&acc_val[1]) * (32768 / 16));
                z = (int16_t)(sensor_value_to_double(&acc_val[2]) * (32768 / 16));
                if (accel_evt_cb) {
                    evt.type = ACCELEROMETER_EVT_TYPE_XYZ;
                    evt.data.xyz.x = x;
                    evt.data.xyz.y = y;
                    evt.data.xyz.z = z;
                    accel_evt_cb(&evt);
                }
            }
        }
    } else {
        LOG_WRN("Unknown ISR");
    }
}

static int configure_double_tap_detection(void)
{
    int err;
    lis2ds12_pin_int1_route_t route;
    __ASSERT(device_is_ready(sensor), "Accelerometer not initialized correctly");
    stmdev_ctx_t *ctx = (stmdev_ctx_t *)sensor->config;

    err = lis2ds12_tap_detection_on_z_set(ctx, 1);
    if (err < 0) {
        LOG_ERR("lis2ds12_tap_detection_on_z_set: %d", err);
        return err;
    }

    err = lis2ds12_tap_threshold_set(ctx, 0x0c); // Set tap threshold
    if (err < 0) {
        LOG_ERR("lis2ds12_tap_threshold_set: %d", err);
        return err;
    }

    err = lis2ds12_tap_shock_set(ctx, 0b11); // Set duration, quiet and shock time windows
    if (err < 0) {
        LOG_ERR("lis2ds12_tap_shock_set: %d", err);
        return err;
    }

    err = lis2ds12_tap_quiet_set(ctx, 0b11); // Set duration, quiet and shock time windows
    if (err < 0) {
        LOG_ERR("lis2ds12_tap_quiet_set: %d", err);
        return err;
    }

    err = lis2ds12_tap_dur_set(ctx, 0b0111); // Set duration, quiet and shock time windows
    if (err < 0) {
        LOG_ERR("lis2ds12_tap_dur_set: %d", err);
        return err;
    }

    err = lis2ds12_tap_mode_set(ctx, 1); // // Single & double-tap enabled (SINGLE_DOUBLE_TAP = 1)
    if (err < 0) {
        LOG_ERR("lis2ds12_tap_mode_set: %d", err);
        return err;
    }

    /* route double tap interrupt on int1 */
    err = lis2ds12_pin_int1_route_get(ctx, &route);
    if (err < 0) {
        return err;
    }

    route.int1_drdy = 0; // Default set to 1 when regging trigger, clear it here.
    route.int1_tap = 1;
    err = lis2ds12_pin_int1_route_set(ctx, route);
    if (err < 0) {
        LOG_ERR("lis2ds12_pin_int1_route_set: %d", err);
        return err;
    }

    return 0;
}

static int configure_pedometer(void)
{
    int err;
    lis2ds12_pin_int2_route_t route_int2;
    __ASSERT(device_is_ready(sensor), "Accelerometer not initialized correctly");
    stmdev_ctx_t *ctx = (stmdev_ctx_t *)sensor->config;

    err = lis2ds12_pedo_sens_set(ctx, 1); // Enable pedometer algorithm
    if (err < 0) {
        LOG_ERR("lis2ds12_pedo_sens_set: %d", err);
        return err;
    }

    err = lis2ds12_pin_int2_route_get(ctx, &route_int2);
    if (err < 0) {
        LOG_ERR("lis2ds12_pin_int2_route_get: %d", err);
        return err;
    }

    route_int2.int2_step_det = 1;
    err = lis2ds12_pin_int2_route_set(ctx, route_int2); // Step detector interrupt driven to INT2 pin
    if (err < 0) {
        LOG_ERR("lis2ds12_pin_int2_route_set: %d", err);
        return err;
    }

    return 0;
}

static int configure_tilt_detection(void)
{
    int err;
    lis2ds12_pin_int2_route_t route_int2;
    __ASSERT(device_is_ready(sensor), "Accelerometer not initialized correctly");
    stmdev_ctx_t *ctx = (stmdev_ctx_t *)sensor->config;

    err = lis2ds12_tilt_sens_set(ctx, 1); // Enable tilt algorithm
    if (err < 0) {
        LOG_ERR("lis2ds12_tilt_sens_set: %d", err);
        return err;
    }

    err = lis2ds12_pin_int2_route_get(ctx, &route_int2);
    if (err < 0) {
        LOG_ERR("lis2ds12_pin_int2_route_get: %d", err);
        return err;
    }

    route_int2.int2_tilt = 1;
    err = lis2ds12_pin_int2_route_set(ctx, route_int2); // Tilt detector interrupt driven to INT2 pin
    if (err < 0) {
        LOG_ERR("lis2ds12_pin_int2_route_set: %d", err);
        return err;
    }

    return 0;
}

static int configure_int2_to_int1(void)
{
    int err;
    __ASSERT(device_is_ready(sensor), "Accelerometer not initialized correctly");
    stmdev_ctx_t *ctx = (stmdev_ctx_t *)sensor->config;

    err = lis2ds12_all_on_int1_set(ctx, 1);
    if (err < 0) {
        LOG_ERR("lis2ds12_all_on_int1_set: %d", err);
        return err;
    }

    return 0;
}
```

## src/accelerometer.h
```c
#ifndef ACCELEROMETER_H_
#define ACCELEROMETER_H_

#include <drivers/sensor.h>

typedef enum accelerometer_evt_type_t {
    ACCELEROMETER_EVT_TYPE_XYZ,
    ACCELEROMETER_EVT_TYPE_DOOUBLE_TAP,
    ACCELEROMETER_EVT_TYPE_STEP,
    ACCELEROMETER_EVT_TYPE_TILT,
} accelerometer_evt_type_t;

typedef struct accelerometer_data_xyz_t {
    int16_t x;
    int16_t y;
    int16_t z;
} accelerometer_data_xyz_t;

typedef struct accelerometer_data_step_t {
    int16_t count;
} accelerometer_data_step_t;

typedef struct accelerometer_evt_t {
    accelerometer_evt_type_t type;
    union {
        accelerometer_data_xyz_t    xyz;
        accelerometer_data_step_t   step;
    } data;
} accelerometer_evt_t;

typedef void(*accel_event_cb)(accelerometer_evt_t *evt);

int accelerometer_init(accel_event_cb accel_cb);

int accelerometer_fetch_xyz(int16_t *x, int16_t *y, int16_t *z);

int accelerometer_fetch_temperature(struct sensor_value *temperature);

int accelerometer_fetch_num_steps(int16_t *num_steps);

int accelerometer_reset_step_count(void);


#endif
```

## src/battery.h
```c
/*
 * Copyright (c) 2018-2019 Peter Bigot Consulting, LLC
 *
 * SPDX-License-Identifier: Apache-2.0
 */

#ifndef APPLICATION_BATTERY_H_
#define APPLICATION_BATTERY_H_

/** Enable or disable measurement of the battery voltage.
 *
 * @param enable true to enable, false to disable
 *
 * @return zero on success, or a negative error code.
 */
int battery_measure_enable(bool enable);

/** Measure the battery voltage.
 *
 * @return the battery voltage in millivolts, or a negative error
 * code.
 */
int battery_sample(void);

/** A point in a battery discharge curve sequence.
 *
 * A discharge curve is defined as a sequence of these points, where
 * the first point has #lvl_pptt set to 10000 and the last point has
 * #lvl_pptt set to zero.  Both #lvl_pptt and #lvl_mV should be
 * monotonic decreasing within the sequence.
 */
struct battery_level_point {
    /** Remaining life at #lvl_mV. */
    uint16_t lvl_pptt;

    /** Battery voltage at #lvl_pptt remaining life. */
    uint16_t lvl_mV;
};

/** Calculate the estimated battery level based on a measured voltage.
 *
 * @param batt_mV a measured battery voltage level.
 *
 * @param curve the discharge curve for the type of battery installed
 * on the system.
 *
 * @return the estimated remaining capacity in parts per ten
 * thousand.
 */
unsigned int battery_level_pptt(unsigned int batt_mV,
                                const struct battery_level_point *curve);

#endif /* APPLICATION_BATTERY_H_ */
```

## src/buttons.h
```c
#ifndef __BUTTONS_H
#define __BUTTONS_H

#include <zephyr/kernel.h>

/**
 * @brief Type of button event
 */
typedef enum buttonPressType_t {
    BUTTONS_SHORT_PRESS,
    BUTTONS_LONG_PRESS
} buttonPressType_t;

/**
 * @brief Button id
 */
typedef enum buttonId_t {
    BUTTON_1,
    BUTTON_2,
    BUTTON_3
} buttonId_t;

typedef void(*buttonHandlerCallback_t)(buttonPressType_t type, buttonId_t id);

/**
 * @brief   Init Button press handler
 *
 * @param   handler          Pointer to callback function for button events.
 */
void buttonsInit(buttonHandlerCallback_t handler);

int button_read(buttonId_t button);

#endif
```
